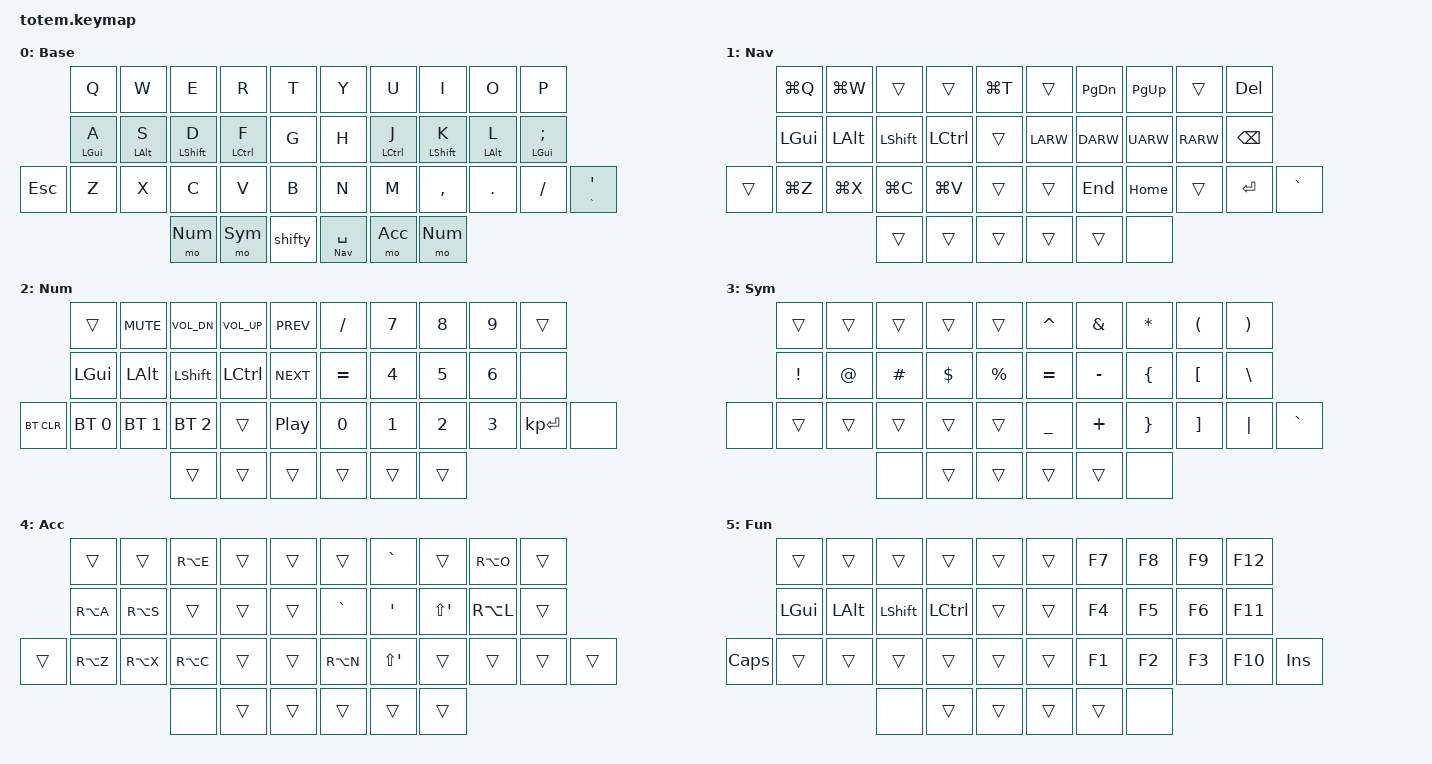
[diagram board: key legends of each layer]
//
//                                                        ▀▀▀▀▀     ▀▀▀▀▀          ▀▀█▀▀
//                                                        ▄▀▀▀▄  ▄  ▄▀▀▀▄  ▄  ▄▀▀▀▄  █  ▄▀▀▀▄
//                                                        █   █  █  █   █  █  █   █  █  █   █
//                                                         ▀▀▀   █   ▀▀▀   █   ▀▀▀   ▀   ▀▀▀
//                                                               █      ▄▄▄█▄▄▄    █   █  
//                                                               ▀      █  █  █     █▄█
//                                                             ▀▀▀▀▀    █  █  █      ▀
//                                                                      ▀  ▀  ▀
//
// ▄▄▄▄▄▄▄▄▄▄▄▄▄▄▄▄▄▄▄▄▄▄▄▄▄▄▄▄▄▄▄▄▄▄▄▄▄▄▄▄▄▄▄▄▄▄▄▄▄▄▄▄▄▄▄▄▄▄▄▄▄▄▄▄▄▄▄▄▄▄▄▄▄▄▄▄▄▄▄▄▄▄▄▄▄▄▄▄▄▄▄▄▄▄▄▄▄▄▄▄▄▄▄▄▄▄▄▄▄▄▄▄▄▄▄▄▄▄▄▄▄▄▄▄▄▄▄▄▄▄▄▄▄▄▄▄▄▄▄▄▄▄▄▄▄▄▄▄▄

#include <behaviors.dtsi>
#include <dt-bindings/zmk/keys.h>
#include <dt-bindings/zmk/bt.h>

#define Base        0
#define Nav         1
#define Num         2
#define Sym         3
#define Acc         4
#define Fun         5

/* Key Position Groups */
#define KEYS_L 0 1 2 3 4 10 11 12 13 14 20 21 22 23 24 25    // left-hand keys
#define KEYS_R 5 6 7 8 9 15 16 17 18 19 26 27 28 29 30 31    // right-hand keys
#define THUMBS 32 33 34 35 36 37                             // thumb keys

&mt {
    quick-tap-ms = <100>;
    global-quick-tap;
    flavor = "tap-preferred";
    tapping-term-ms = <150>;
};

&lt {
    tapping-term-ms = <180>;
    flavor = "balanced";
    quick-tap-ms = <150>;
};

/ {
    cond_layers {
        compatible = "zmk,conditional-layers";
        tri {
            if-layers = <Num Nav>;
            then-layer = <Fun>;
        };
    };

    behaviors {
        shifty: shift_caps_word {
            compatible = "zmk,behavior-tap-dance";
            label = "TD_SHIFTY";
            #binding-cells = <0>;
            tapping-term-ms = <200>;
            bindings = <&kp LSHFT>, <&caps_word>;
        };

        mtl: mod_tap_left {
            compatible = "zmk,behavior-hold-tap";
            label = "MOD_TAP_LEFT";
            #binding-cells = <2>;
            flavor = "balanced";
            tapping-term-ms = <210>;
            quick-tap-ms = <175>;
            bindings = <&kp>, <&kp>;
            hold-trigger-key-positions = <KEYS_R THUMBS>;
            hold-trigger-on-release;
            global-quick-tap;
        };

        mtr: mod_tap_right {
            compatible = "zmk,behavior-hold-tap";
            label = "MOD_TAP_RIGHT";
            #binding-cells = <2>;
            flavor = "balanced";
            tapping-term-ms = <210>;
            quick-tap-ms = <175>;
            bindings = <&kp>, <&kp>;
            hold-trigger-key-positions = <KEYS_L THUMBS>;
            hold-trigger-on-release;
            global-quick-tap;
        };
    };

    combos {
        compatible = "zmk,combos";
        // GLOBAL Combos

        tab_combo {
          timeout-ms = <50>;
          key-positions = <1 11>;
          bindings = <&kp TAB>;
        };

        // Num Combos

        brightness_down_combo {
            timeout-ms = <50>;
            key-positions = <2 12>;
            bindings = <&kp C_BRI_DEC>;
            layers = <Num>;
        };

        brightness_up_combo {
            timeout-ms = <50>;
            key-positions = <3 13>;
            bindings = <&kp C_BRI_INC>;
            layers = <Num>;
        };

        // Base Combos

        enter_combo {
          timeout-ms = <50>;
          key-positions = <33 34>;
          bindings = <&kp ENTER>;
          layers = <Base>;
        };

        double_quote_combo {
            timeout-ms = <50>;
            key-positions = <6 16>;
            bindings = <&kp LS(QUOT)>;
            layers = <Base>;
        };

        less_than_combo {
            timeout-ms = <50>;
            key-positions = <7 17>;
            bindings = <&kp LT>;
            layers = <Base>;
        };

        bslash_combo {
            timeout-ms = <50>;
            key-positions = <9 19>;
            bindings = <&kp BSLH>;
            layers = <Base>;
        };

        single_quote_combo {
            timeout-ms = <50>;
            key-positions = <16 27>;
            bindings = <&kp QUOT>;
            layers = <Base>;
        };

        greater_than_combo {
            timeout-ms = <50>;
            key-positions = <17 28>;
            bindings = <&kp GT>;
            layers = <Base>;
        };

        ques_mark_combo {
            timeout-ms = <50>;
            key-positions = <18 29>;
            bindings = <&kp LS(FSLH)>;
            layers = <Base>;
        };

        colon_combo {
          timeout-ms = <50>;
          key-positions = <19 30>;
          bindings = <&kp COLON>;
          layers = <Base>;
        };
    };

    keymap {
        compatible = "zmk,keymap";

        Base {
            label = "Base";
            bindings = <
                     &kp Q       &kp W       &kp E        &kp R        &kp T         &kp Y            &kp U         &kp I        &kp O       &kp P
                     &mtl LGUI A &mtl LALT S &mtl LSHFT D &mtl LCTRL F &kp G         &kp H            &mtr LCTRL J  &mtr LSHFT K &mtr LALT L &mtr LGUI SEMI
        &kp ESC      &kp Z       &kp X       &kp C        &kp V        &kp B         &kp N            &kp M         &kp COMMA    &kp DOT     &kp FSLH       &mt GRAVE QUOT
                                             &mo Num      &mo Sym      &shifty       &lt Nav SPACE    &mo Acc      &mo Num
            >;
        };

        Nav {
            label = "Nav";
            bindings = <
                  &kp LG(Q)  &kp LG(W)  &trans      &trans          &kp LG(T)    &trans       &kp PG_DN    &kp PG_UP  &trans     &kp DEL
                  &kp LGUI   &kp LALT   &kp LSHFT   &kp LCTRL       &trans       &kp LARW     &kp DARW     &kp UARW   &kp RARW   &kp BKSP
        &trans    &kp LG(Z)  &kp LG(X)  &kp LG(C)   &kp LG(V)       &trans       &trans       &kp END      &kp HOME   &trans     &kp ENTER   &kp GRAVE
                                        &trans      &trans          &trans       &trans       &trans       &none
            >;
        };

        Num {
            label = "Num";
            bindings = <
                     &trans       &kp C_MUTE   &kp C_VOL_DN &kp C_VOL_UP  &kp C_PREV       &kp FSLH   &kp N7   &kp N8   &kp N9     &trans
                     &kp LGUI     &kp LALT     &kp LSHFT    &kp LCTRL     &kp C_NEXT       &kp EQUAL  &kp N4   &kp N5   &kp N6     &none
        &bt BT_CLR   &bt BT_SEL 0 &bt BT_SEL 1 &bt BT_SEL 2 &trans        &kp C_PLAY_PAUSE &kp N0     &kp N1   &kp N2   &kp N3     &kp KP_ENTER  &none
                                         &trans       &trans        &trans           &trans     &trans  &trans
            >;
        };

        Sym {
            label = "Sym";
            bindings = <
                  &trans    &trans     &trans      &trans    &trans         &kp CARET     &kp AMPS   &kp ASTRK     &kp LPAR      &kp RPAR
                  &kp EXCL  &kp AT     &kp HASH    &kp DLLR  &kp PRCNT      &kp EQUAL     &kp MINUS  &kp LBRC      &kp LBKT      &kp BSLH
        &none     &trans    &trans     &trans      &trans    &trans         &kp UNDER     &kp PLUS   &kp RBRC      &kp RBKT      &kp PIPE     &kp GRAVE
                                       &none       &trans    &trans         &trans        &trans     &none
            >;
        };

        Acc {
            label = "Acc";
            bindings = <
                   &trans       &trans        &kp RA(E)   &trans    &trans      &trans     &kp GRAVE     &trans        &kp RA(O)   &trans
                   &kp RA(A)    &kp RA(S)     &trans      &trans    &trans      &kp GRAVE  &kp QUOT      &kp LS(QUOT)  &kp RA(L)   &trans
        &trans     &kp RA(Z)    &kp RA(X)     &kp RA(C)   &trans    &trans      &kp RA(N)  &kp LS(QUOT)  &trans        &trans      &trans     &trans
                                              &none       &trans    &trans      &trans     &trans        &trans
            >;
        };

        Fun {
            label = "Fun";
            bindings = <
                  &trans    &trans     &trans      &trans     &trans         &trans    &kp F7     &kp F8     &kp F9     &kp F12
                  &kp LGUI  &kp LALT   &kp LSHFT   &kp LCTRL  &trans         &trans    &kp F4     &kp F5     &kp F6     &kp F11
        &kp CAPS  &trans    &trans     &trans      &trans     &trans         &trans    &kp F1     &kp F2     &kp F3     &kp F10     &kp INS
                                           &none   &trans     &trans         &trans    &trans     &none
            >;
        };
    };
};
